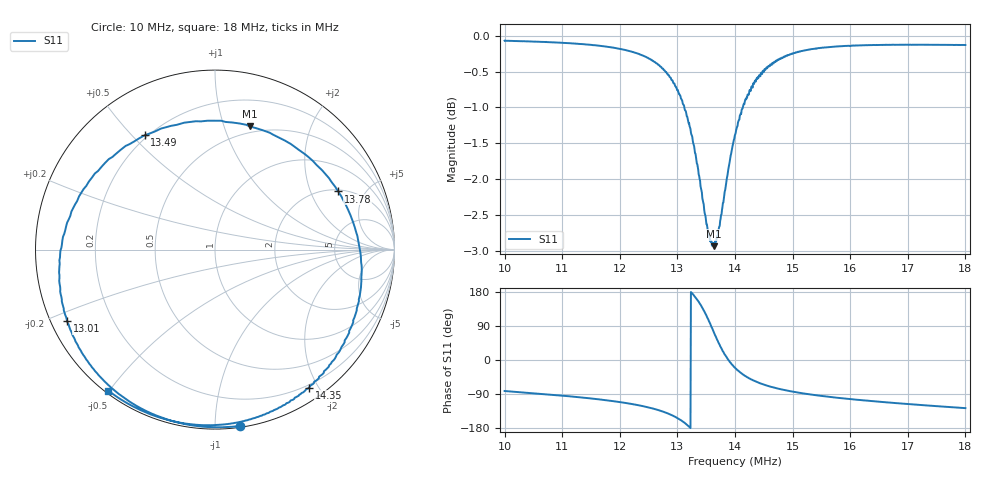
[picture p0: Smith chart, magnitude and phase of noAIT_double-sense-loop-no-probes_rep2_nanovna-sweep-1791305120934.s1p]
! NanoVNA Web complex sweep
! Processing: unaveraged complex samples; linear segment spacing; no smoothing
# Hz S RI R 50
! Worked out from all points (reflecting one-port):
!   1010 points, 10 MHz to 18 MHz, reference 50 ohm
!   lowest |S11| = -2.9 dB at 13.63 MHz (marker M1), VSWR 5.97, Z = 21.9 + j61.3 ohm
!   phase of S11 starts at -82 deg and turns -405 deg over the sweep
!   S11 on the Smith chart (normalised r, x): 10 MHz: 0.01, -1.15; 13.01 MHz: 0.05, -0.23; 13.49 MHz: 0.19, +0.54; 13.78 MHz: 2.08, +3.19; 14.35 MHz: 0.17, -1.88; 18 MHz: 0.01, -0.50
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1e7  0.1413 -0.9822
1.100698e7  -0.0709 -0.9863
1.200604e7  -0.3535 -0.9132
1.234698e7  -0.4863 -0.8399
1.261657e7  -0.6137 -0.7359
1.283065e7  -0.7284 -0.5939
1.300509e7  -0.8215 -0.407
1.301302e7  -0.8245 -0.3963
1.317953e7  -0.868 -0.1116
1.329054e7  -0.8237 0.1505
1.339361e7  -0.6692 0.4244
1.348876e7  -0.3912 0.6376
1.356012e7  -0.107 0.7151
1.363148e7  0.1942 0.6861
1.37187e7  0.5238 0.5131
1.378213e7  0.6866 0.3241
1.382971e7  0.7596 0.1787
1.388521e7  0.8074 -0.00172
1.400414e7  0.7952 -0.3101
1.407551e7  0.7471 -0.4536
1.416272e7  0.6778 -0.586
1.434509e7  0.5237 -0.7686
1.461468e7  0.3221 -0.8991
1.50032e7  0.1086 -0.9659
1.545515e7  -0.0677 -0.9783
1.600225e7  -0.2243 -0.9578
1.700131e7  -0.435 -0.8847
1.800036e7  -0.5936 -0.7866
